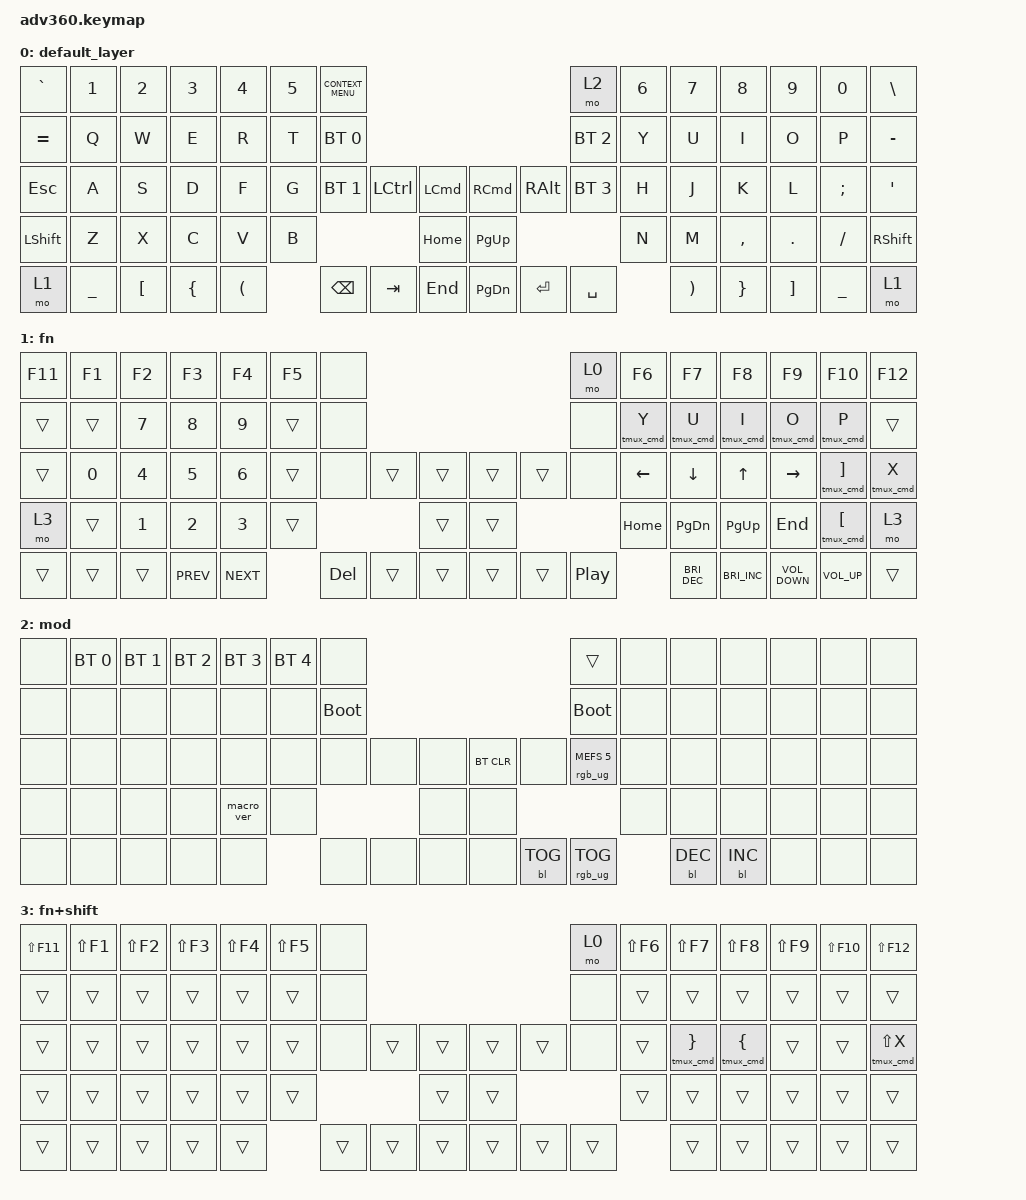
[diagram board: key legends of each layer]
#include <behaviors.dtsi>
#include <dt-bindings/zmk/backlight.h>
#include <dt-bindings/zmk/bt.h>
#include <dt-bindings/zmk/keys.h>
#include <dt-bindings/zmk/rgb.h>

/ {
    behaviors {
        #include "macros.dtsi"
      #include "version.dtsi"
      #ifndef VERSION_MACRO

        macro_ver: macro_ver {
            compatible = "zmk,behavior-macro";
            label = "macro_version";
            #binding-cells = <0>;
            bindings = <&kp RET>;
        };

        #endif

        tmux_cmd: tmux_cmd {
            compatible = "zmk,behavior-macro-one-param";
            #binding-cells = <1>;
            bindings = <&kp LC(B) &macro_param_1to1 &kp MACRO_PLACEHOLDER>;
            label = "TMUX_CMD";
        };

        hm: homerow_mods {
            compatible = "zmk,behavior-hold-tap";
            label = "HOMEROW_MODS";
            #binding-cells = <2>;
            tapping-term-ms = <200>;
            flavor = "hold-preferred";
            bindings = <&kp>, <&kp>;

            hold-trigger-on-release;
            quick-tap-ms = <100>;
        };
    };

    macros {
    };

    keymap {
        compatible = "zmk,keymap";

        default_layer {
            bindings = <
&kp GRAVE   &kp N1          &kp N2            &kp N3          &kp N4                &kp N5  &kp K_CONTEXT_MENU                                                                            &mo 2         &kp N6  &kp N7                 &kp N8           &kp N9             &kp N0          &kp BACKSLASH
&kp EQUAL   &kp Q           &kp W             &kp E           &kp R                 &kp T   &bt BT_SEL 0                                                                                  &bt BT_SEL 2  &kp Y   &kp U                  &kp I            &kp O              &kp P           &kp MINUS
&kp ESCAPE  &kp A           &kp S             &kp D           &kp F                 &kp G   &bt BT_SEL 1        &kp LEFT_CONTROL  &kp LEFT_COMMAND      &kp RIGHT_COMMAND  &kp RIGHT_ALT  &bt BT_SEL 3  &kp H   &kp J                  &kp K            &kp L              &kp SEMI        &kp SQT
&kp LSHFT   &kp Z           &kp X             &kp C           &kp V                 &kp B                                         &kp HOME              &kp PAGE_UP                                     &kp N   &kp M                  &kp COMMA        &kp DOT            &kp FSLH        &kp RSHFT
&mo 1       &kp UNDERSCORE  &kp LEFT_BRACKET  &kp LEFT_BRACE  &kp LEFT_PARENTHESIS          &kp BSPC            &kp TAB           &kp END               &kp PAGE_DOWN      &kp ENTER      &kp SPACE             &kp RIGHT_PARENTHESIS  &kp RIGHT_BRACE  &kp RIGHT_BRACKET  &kp UNDERSCORE  &mo 1
            >;
        };

        fn {
            bindings = <
&kp F11  &kp F1  &kp F2        &kp F3        &kp F4        &kp F5  &none                                           &mo 0             &kp F6          &kp F7                &kp F8                &kp F9             &kp F10                  &kp F12
&trans   &trans  &kp N7        &kp N8        &kp N9        &trans  &none                                           &none             &tmux_cmd Y     &tmux_cmd U           &tmux_cmd I           &tmux_cmd O        &tmux_cmd P              &trans
&trans   &kp N0  &kp NUMBER_4  &kp N5        &kp NUMBER_6  &trans  &none       &trans  &trans      &trans  &trans  &none             &kp LEFT_ARROW  &kp DOWN_ARROW        &kp UP_ARROW          &kp RIGHT_ARROW    &tmux_cmd RIGHT_BRACKET  &tmux_cmd X
&mo 3    &trans  &kp NUMBER_1  &kp NUMBER_2  &kp NUMBER_3  &trans                      &trans      &trans                            &kp HOME        &kp PAGE_DOWN         &kp PAGE_UP           &kp END            &tmux_cmd LEFT_BRACKET   &mo 3
&trans   &trans  &trans        &kp C_PREV    &kp C_NEXT            &kp DELETE  &trans  &trans      &trans  &trans  &kp C_PLAY_PAUSE                  &kp C_BRIGHTNESS_DEC  &kp C_BRIGHTNESS_INC  &kp C_VOLUME_DOWN  &kp C_VOLUME_UP          &trans
            >;
        };

        mod {
            bindings = <
&none  &bt BT_SEL 0  &bt BT_SEL 1  &bt BT_SEL 2  &bt BT_SEL 3  &bt BT_SEL 4  &none                                                  &trans                  &none  &none       &none       &none  &none  &none
&none  &none         &none         &none         &none         &none         &bootloader                                            &bootloader             &none  &none       &none       &none  &none  &none
&none  &none         &none         &none         &none         &none         &none        &none  &none      &bt BT_CLR  &none       &rgb_ug RGB_MEFS_CMD 5  &none  &none       &none       &none  &none  &none
&none  &none         &none         &none         &macro_ver    &none                             &none      &none                                           &none  &none       &none       &none  &none  &none
&none  &none         &none         &none         &none                       &none        &none  &none      &none       &bl BL_TOG  &rgb_ug RGB_TOG                &bl BL_DEC  &bl BL_INC  &none  &none  &none
            >;
        };

        fn+shift {
            bindings = <
&kp LS(F11)  &kp LS(F1)  &kp LS(F2)  &kp LS(F3)  &kp LS(F4)  &kp LS(F5)  &none                                       &mo 0   &kp LS(F6)  &kp LS(F7)             &kp LS(F8)            &kp LS(F9)  &kp LS(F10)  &kp LS(F12)
&trans       &trans      &trans      &trans      &trans      &trans      &none                                       &none   &trans      &trans                 &trans                &trans      &trans       &trans
&trans       &trans      &trans      &trans      &trans      &trans      &none   &trans  &trans      &trans  &trans  &none   &trans      &tmux_cmd RIGHT_BRACE  &tmux_cmd LEFT_BRACE  &trans      &trans       &tmux_cmd LS(X)
&trans       &trans      &trans      &trans      &trans      &trans                      &trans      &trans                  &trans      &trans                 &trans                &trans      &trans       &trans
&trans       &trans      &trans      &trans      &trans                  &trans  &trans  &trans      &trans  &trans  &trans              &trans                 &trans                &trans      &trans       &trans
            >;
        };
    };
};
